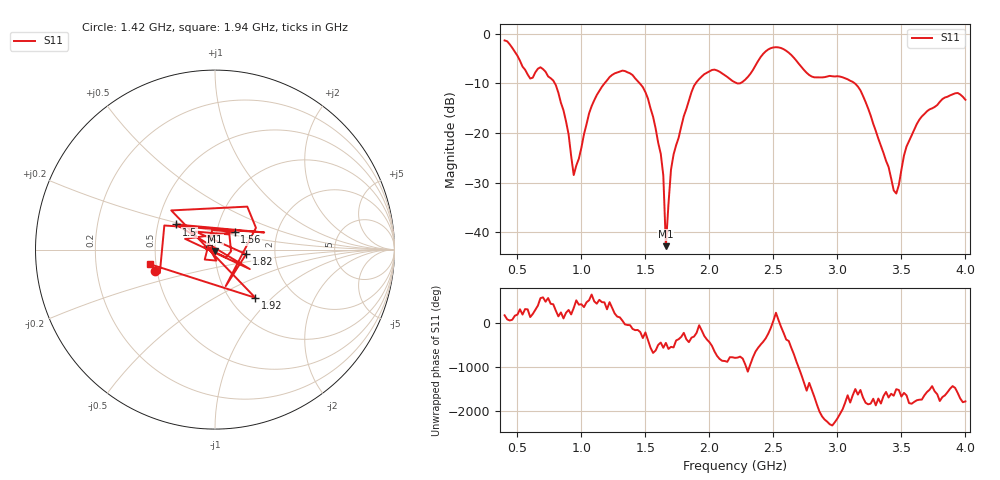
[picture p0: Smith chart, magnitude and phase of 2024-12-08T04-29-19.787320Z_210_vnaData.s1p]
!Created with skrf (http://scikit-rf.org).
# Hz S RI R 50.0
!freq ReS11 ImS11
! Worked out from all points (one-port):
!   181 points, 400 MHz to 4 GHz, reference 50 ohm
!   lowest |S11| = -42.8 dB at 1.66 GHz (marker M1), VSWR 1.01, Z = 50 - j0.722 ohm
!   |S11| at or under -10 dB: 792.9 MHz to 1.18 GHz (387.1 MHz wide, 39.2 % of centre); 1.457 GHz to 1.892 GHz (435.8 MHz wide, 26 % of centre); 3.137 GHz to end of sweep (the widest 3 of 4)
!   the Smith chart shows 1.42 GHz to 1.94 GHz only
!   S11 on the Smith chart (normalised r, x): 1.42 GHz: 0.49, -0.13; 1.5 GHz: 0.62, +0.19; 1.56 GHz: 1.22, +0.24; 1.82 GHz: 1.42, -0.08; 1.92 GHz: 1.30, -0.80; 1.94 GHz: 0.46, -0.09
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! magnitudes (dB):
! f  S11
! 400 MHz  -1.3
! 600 MHz  -9.0
! 680 MHz  -6.7
! 780 MHz  -9.4
! 860 MHz  -15.4
! 940 MHz  -28.5
! 1.08 GHz  -14.6
! 1.3 GHz  -7.6
! 1.42 GHz  -9.0
! 1.5 GHz  -11.8
! 1.56 GHz  -16.7
! 1.64 GHz  -28.6
! 1.66 GHz  -42.8
! 1.7 GHz  -27.4
! 1.76 GHz  -20.9
! 1.82 GHz  -15.1
! 1.92 GHz  -9.1
! 1.94 GHz  -8.6
! 2.2 GHz  -9.8
! 2.48 GHz  -2.9
! 2.66 GHz  -4.8
! 2.8 GHz  -8.6
! 3.1 GHz  -9.5
! 3.22 GHz  -13.7
! 3.46 GHz  -32.2
! 3.56 GHz  -21.6
! 3.82 GHz  -13.2
! 4 GHz  -13.3
